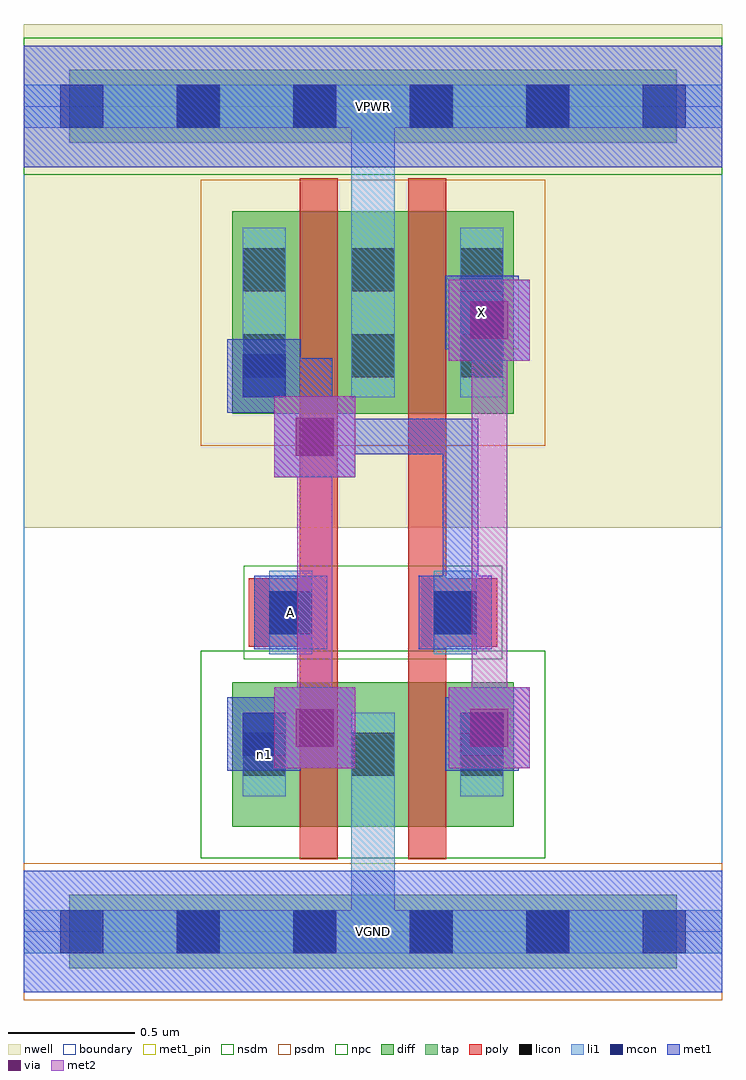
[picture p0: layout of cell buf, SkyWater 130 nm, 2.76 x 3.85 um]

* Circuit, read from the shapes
.subckt buf A VGND VPWR X n1
XM1 VGND A n1 VGND sky130_fd_pr__nfet_01v8 w=0.57 l=0.15
XM2 X n1 VGND VGND sky130_fd_pr__nfet_01v8 w=0.57 l=0.15
XM3 VPWR A n1 VPWR sky130_fd_pr__pfet_01v8 w=0.8 l=0.15
XM4 X n1 VPWR VPWR sky130_fd_pr__pfet_01v8 w=0.8 l=0.15
.ends

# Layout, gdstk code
import gdstk
lib = gdstk.Library(unit=1e-6, precision=1e-09)
def R(c, l, rs):  # rectangles x0, y0, x1, y1
    for r in rs: c.add(gdstk.rectangle(r[:2], r[2:], *l))
def A(c, l, x, y, w, h, nx, ny, dx, dy):  # array of equal rectangles
    R(c, l, [(x+i*dx, y+j*dy, x+i*dx+w, y+j*dy+h) for i in range(nx) for j in range(ny)])
nwell = (64, 20)
diff = (65, 20)
tap = (65, 44)
poly = (66, 20)
licon = (66, 44)
li1 = (67, 20)
mcon = (67, 44)
met1_pin = (68, 16)
met1 = (68, 20)
via = (68, 44)
met2 = (69, 20)
nsdm = (93, 44)
psdm = (94, 20)
npc = (95, 20)
boundary = (235, 4)

buf = lib.new_cell('buf')
R(buf, nwell, [(0,1.595,2.76,3.585)])
R(buf, diff, [(0.825,0.415,1.935,0.985), (0.825,2.045,1.935,2.845)])
R(buf, tap, [(0.18,-0.145,2.58,0.145), (0.18,3.115,2.58,3.405)])
R(buf, poly, [(1.09,0.285,1.24,2.975), (1.52,0.285,1.67,2.975), (0.89,1.125,1.22,1.395), (1.54,1.125,1.87,1.395)])
A(buf, licon, 0.605, -0.085, 0.17, 0.17, 4, 2, 0.46, 3.26)
A(buf, licon, 0.865, 0.615, 0.17, 0.17, 3, 2, 0.43, 1.575)
A(buf, licon, 0.865, 2.53, 0.17, 0.17, 3, 1, 0.43, 0)
R(buf, licon, [(0.97,1.175,1.14,1.345), (1.62,1.175,1.79,1.345)])
A(buf, li1, 0.865, 0.535, 0.17, 0.33, 3, 1, 0.43, 0)
A(buf, li1, 0.865, 2.11, 0.17, 0.67, 3, 1, 0.43, 0)
R(buf, li1, [(0,-0.085,2.76,0.085), (1.295,-0.085,1.465,0.865), (0.97,1.095,1.14,1.425), (1.62,1.095,1.79,1.425), (1.295,2.11,1.465,3.345), (0,3.175,2.76,3.345)])
A(buf, mcon, 0.145, -0.085, 0.17, 0.17, 6, 2, 0.46, 3.26)
R(buf, mcon, [(0.865,0.695,1.035,0.865), (1.725,0.695,1.895,0.865), (0.97,1.175,1.14,1.345), (1.62,1.175,1.79,1.345), (0.865,2.11,1.035,2.28), (1.725,2.36,1.895,2.53)])
R(buf, met1_pin, [(0,-0.24,2.76,0.24), (0.91,1.115,1.2,1.405), (1.665,2.3,1.955,2.59), (0,3.02,2.76,3.5)])
R(buf, met1, [(0,-0.24,2.76,0.24), (0.805,0.635,1.095,0.925), (1.665,0.635,1.955,0.925), (0.99,0.645,1.31,0.965), (1.68,0.645,2,0.965), (0.88,0.71,1.22,0.85), (1.08,0.71,1.22,0.875), (1.74,0.71,1.91,0.85), (1.77,0.71,1.91,0.875), (0.91,1.115,1.2,1.405), (1.56,1.115,1.85,1.405), (1.655,1.195,1.795,1.335), (1.655,1.195,1.795,2.025), (0.99,1.795,1.31,2.115), (1.08,1.885,1.795,2.025), (1.08,1.885,1.22,2.14), (1.08,2,1.22,2.265), (0.805,2.05,1.095,2.34), (0.99,2.115,1.22,2.125), (0.88,2.125,1.22,2.265), (1.68,2.255,2,2.575), (1.665,2.3,1.955,2.59), (1.77,2.345,1.91,2.485), (0,3.02,2.76,3.5)])
R(buf, via, [(1.075,0.73,1.225,0.88), (1.765,0.73,1.915,0.88), (1.075,1.88,1.225,2.03), (1.765,2.34,1.915,2.49)])
R(buf, met2, [(0.99,0.645,1.31,0.965), (1.68,0.645,2,0.965), (1.08,0.735,1.22,2.025), (1.77,0.735,1.91,2.485), (0.99,1.795,1.31,2.115), (1.68,2.255,2,2.575)])
R(buf, nsdm, [(0.7,0.29,2.06,1.11), (0,2.99,2.76,3.53)])
R(buf, psdm, [(0,-0.27,2.76,0.27), (0.7,1.92,2.06,2.97)])
R(buf, npc, [(0.87,1.075,1.89,1.445)])
R(buf, boundary, [(0,0,2.76,3.26)])
buf.add(gdstk.Label('n1', (0.95,0.7), layer=67, texttype=5))
buf.add(gdstk.Label('A', (1.055,1.26), layer=68, texttype=5))
buf.add(gdstk.Label('X', (1.81,2.445), layer=68, texttype=5))
buf.add(gdstk.Label('VPWR', (1.38,3.26), layer=68, texttype=5))
buf.add(gdstk.Label('VGND', (1.38,0), layer=68, texttype=5))
buf.add(gdstk.Label('A', (1.055,1.26), layer=68, texttype=16))
buf.add(gdstk.Label('X', (1.81,2.445), layer=68, texttype=16))
buf.add(gdstk.Label('VPWR', (1.38,3.26), layer=68, texttype=16))
buf.add(gdstk.Label('VGND', (1.38,0), layer=68, texttype=16))

lib.write_gds('buf.gds')
